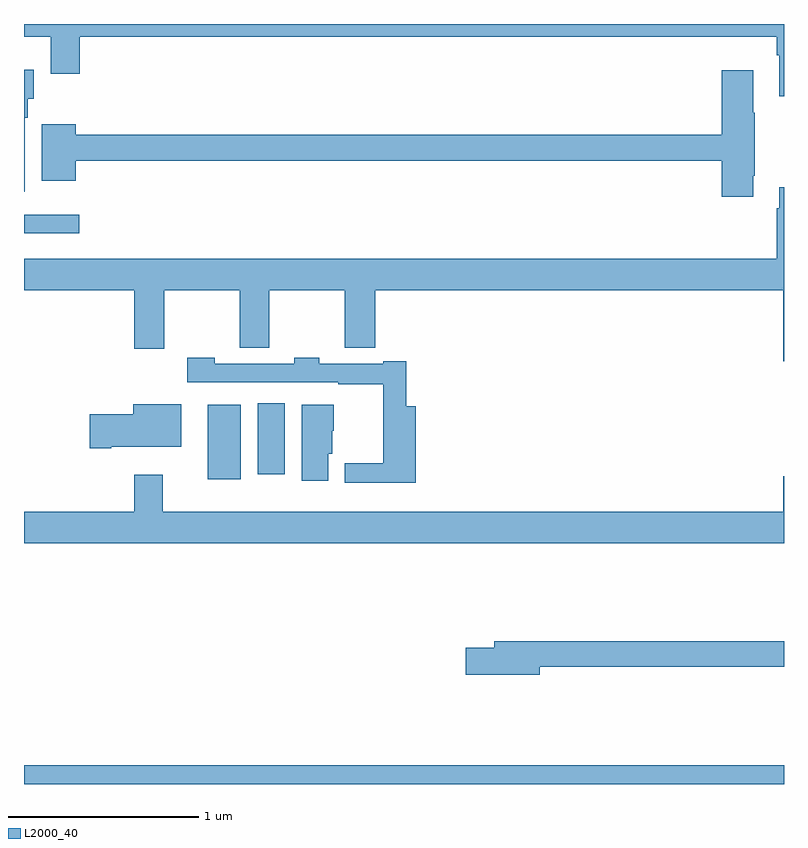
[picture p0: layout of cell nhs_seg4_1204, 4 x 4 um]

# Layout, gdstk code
import gdstk
lib = gdstk.Library(unit=1e-6, precision=1e-09)
def R(c, l, rs):  # rectangles x0, y0, x1, y1
    for r in rs: c.add(gdstk.rectangle(r[:2], r[2:], *l))
def P(c, l, *ps):  # polygons
    for p in ps: c.add(gdstk.Polygon(p, *l))
L2000_40 = (2000, 40)

nhs_seg4_1204 = lib.new_cell('nhs_seg4_1204')
R(nhs_seg4_1204, L2000_40, [(173,780.9,177,781), (173.966,782.504,174.142,782.896), (174.23,782.529,174.373,782.905), (173,783.8,173.29,783.897)])
P(nhs_seg4_1204, L2000_40, [(177,784.9),(173,784.9),(173,784.832),(173.141,784.832),(173.141,784.638),(173.294,784.638),(173.294,784.832),(176.963,784.832),(176.963,784.736),(176.975,784.736),(176.975,784.521),(177,784.521)],
  [(173.005,784.406),(173.02,784.406),(173.02,784.506),(173.05,784.506),(173.05,784.66),(173,784.66),(173,784.017),(173.005,784.017)],
  [(176.839,784.102),(176.847,784.102),(176.847,784.433),(176.839,784.433),(176.839,784.657),(176.672,784.657),(176.672,784.316),(173.272,784.316),(173.272,784.372),(173.093,784.372),(173.093,784.076),(173.272,784.076),(173.272,784.18),(176.672,784.18),(176.672,783.99),(176.839,783.99)],
  [(177,784.042),(176.975,784.042),(176.975,783.929),(176.963,783.929),(176.963,783.664),(173,783.664),(173,783.5),(173.579,783.5),(173.579,783.192),(173.739,783.192),(173.739,783.5),(174.136,783.5),(174.136,783.196),(174.29,783.196),(174.29,783.5),(174.688,783.5),(174.688,783.196),(174.848,783.196),(174.848,783.5),(176.996,783.5),(176.996,783.126),(177,783.126)],
  [(175.061,782.887),(175.013,782.887),(175.013,783.124),(174.89,783.124),(174.89,783.111),(174.555,783.111),(174.555,783.144),(174.423,783.144),(174.423,783.111),(174.003,783.111),(174.003,783.144),(173.859,783.144),(173.859,783.015),(174.655,783.015),(174.655,783.003),(174.89,783.003),(174.89,782.588),(174.687,782.588),(174.687,782.486),(175.061,782.486)],
  [(173.458,782.675),(173.827,782.675),(173.827,782.899),(173.576,782.899),(173.576,782.846),(173.346,782.846),(173.346,782.668),(173.458,782.668)],
  [(174.601,782.637),(174.622,782.637),(174.622,782.76),(174.631,782.76),(174.631,782.896),(174.461,782.896),(174.461,782.496),(174.601,782.496)],
  [(177,782.521),(176.996,782.521),(176.996,782.332),(173.731,782.332),(173.731,782.527),(173.579,782.527),(173.579,782.332),(173,782.332),(173,782.168),(177,782.168)],
  [(175.714,781.516),(177,781.516),(177,781.652),(175.475,781.652),(175.475,781.616),(175.326,781.616),(175.326,781.474),(175.714,781.474)])

lib.write_gds('nhs_seg4_1204.gds')
